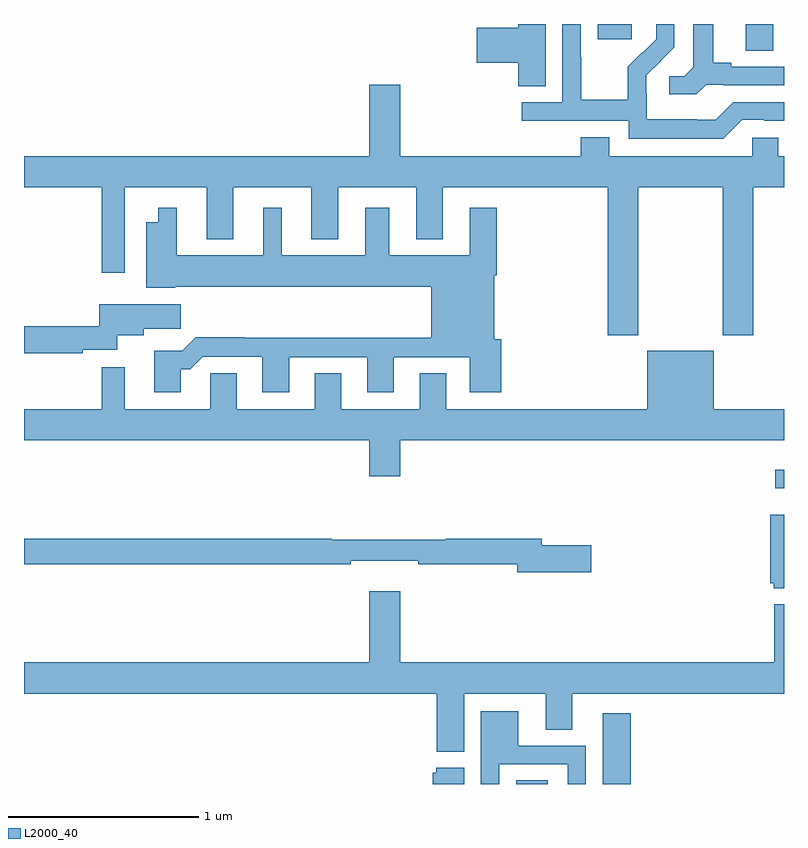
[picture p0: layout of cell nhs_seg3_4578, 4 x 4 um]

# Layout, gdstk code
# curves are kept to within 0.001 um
import gdstk
lib = gdstk.Library(unit=1e-6, precision=1e-09)
def R(c, l, rs):  # rectangles x0, y0, x1, y1
    for r in rs: c.add(gdstk.rectangle(r[:2], r[2:], *l))
def P(c, l, *ps):  # polygons
    for p in ps: c.add(gdstk.Polygon(p, *l))
L2000_40 = (2000, 40)

nhs_seg3_4578 = lib.new_cell('nhs_seg3_4578')
R(nhs_seg3_4578, L2000_40, [(357.59,740.4,357.757,740.42), (358.046,740.4,358.193,740.773), (358.953,741.956,359,742.054), (358.799,744.259,358.944,744.4), (358.019,744.321,358.198,744.4)])
P(nhs_seg3_4578, L2000_40, [(358.779,743.895),(358.895,743.895),(358.895,743.892),(359,743.892),(359,743.988),(358.734,743.988),(358.641,743.895),(358.541,743.895),(358.541,743.899),(358.278,743.899),(358.278,744.033),(358.276,744.033),(358.276,744.13),(358.422,744.278),(358.422,744.4),(358.328,744.4),(358.328,744.32),(358.257,744.249),(358.254,744.252),(358.177,744.175),(358.177,744.001),(357.933,744.001),(357.933,744.224),(357.93,744.224),(357.93,744.4),(357.834,744.4),(357.834,743.988),(357.621,743.988),(357.621,743.892),(358.182,743.892),(358.182,743.795),(358.679,743.795)],
  [(357.745,744.4),(357.602,744.4),(357.602,744.38),(357.384,744.38),(357.384,744.197),(357.602,744.197),(357.602,744.073),(357.745,744.073)],
  [(358.59,744.081),(358.684,744.081),(358.684,744.078),(359,744.078),(359,744.174),(358.723,744.174),(358.723,744.197),(358.627,744.197),(358.627,744.4),(358.523,744.4),(358.523,744.173),(358.476,744.126),(358.395,744.126),(358.395,744.029),(358.538,744.029)],
  [(358.233,743.54),(358.678,743.54),(358.678,742.761),(358.838,742.761),(358.838,743.54),(359,743.54),(359,743.704),(358.971,743.704),(358.971,743.802),(358.833,743.802),(358.833,743.704),(358.081,743.704),(358.081,743.803),(357.929,743.803),(357.929,743.704),(356.98,743.704),(356.98,744.079),(356.816,744.079),(356.816,743.704),(355,743.704),(355,743.54),(355.41,743.54),(355.41,743.091),(355.531,743.091),(355.531,743.54),(355.961,743.54),(355.961,743.267),(356.101,743.267),(356.101,743.54),(356.513,743.54),(356.513,743.267),(356.653,743.267),(356.653,743.54),(357.065,743.54),(357.065,743.267),(357.205,743.267),(357.205,743.54),(358.073,743.54),(358.073,742.761),(358.233,742.761)],
  [(355.825,742.583),(355.874,742.583),(355.941,742.65),(356.255,742.65),(356.255,742.461),(356.395,742.461),(356.395,742.647),(356.807,742.647),(356.807,742.461),(356.947,742.461),(356.947,742.647),(357.347,742.647),(357.347,742.461),(357.512,742.461),(357.512,742.74),(357.475,742.74),(357.475,743.078),(357.488,743.078),(357.488,743.434),(357.347,743.434),(357.347,743.182),(356.923,743.182),(356.923,743.434),(356.795,743.434),(356.795,743.182),(356.356,743.182),(356.356,743.434),(356.258,743.434),(356.258,743.182),(355.804,743.182),(355.804,743.434),(355.706,743.434),(355.706,743.356),(355.643,743.356),(355.643,743.012),(355.797,743.012),(355.797,743.018),(357.143,743.018),(357.143,742.748),(356.159,742.748),(356.159,742.751),(355.904,742.751),(355.834,742.681),(355.685,742.681),(355.685,742.461),(355.825,742.461)],
  [(355.308,742.685),(355.491,742.685),(355.491,742.763),(355.63,742.763),(355.63,742.795),(355.825,742.795),(355.825,742.924),(355.395,742.924),(355.395,742.808),(355,742.808),(355,742.666),(355.308,742.666)],
  [(356.98,742.208),(359,742.208),(359,742.372),(358.63,742.372),(358.63,742.681),(358.28,742.681),(358.28,742.372),(357.223,742.372),(357.223,742.562),(357.083,742.562),(357.083,742.372),(356.671,742.372),(356.671,742.562),(356.531,742.562),(356.531,742.372),(356.119,742.372),(356.119,742.562),(355.98,742.562),(355.98,742.372),(355.531,742.372),(355.531,742.594),(355.41,742.594),(355.41,742.372),(355,742.372),(355,742.208),(356.816,742.208),(356.816,742.02),(356.98,742.02)],
  [(359,741.817),(358.928,741.817),(358.928,741.456),(358.947,741.456),(358.947,741.431),(359,741.431)],
  [(357.985,741.656),(357.724,741.656),(357.724,741.692),(357.22,741.692),(357.22,741.685),(356.62,741.685),(356.62,741.692),(355,741.692),(355,741.556),(356.72,741.556),(356.72,741.575),(357.076,741.575),(357.076,741.556),(357.596,741.556),(357.596,741.514),(357.985,741.514)],
  [(357.316,740.876),(357.746,740.876),(357.746,740.686),(357.886,740.686),(357.886,740.876),(359,740.876),(359,741.346),(358.949,741.346),(358.949,741.04),(356.98,741.04),(356.98,741.415),(356.816,741.415),(356.816,741.04),(355,741.04),(355,740.876),(357.173,740.876),(357.173,740.57),(357.316,740.57)],
  [(357.501,740.505),(357.861,740.505),(357.861,740.4),(357.957,740.4),(357.957,740.601),(357.601,740.601),(357.601,740.782),(357.405,740.782),(357.405,740.4),(357.501,740.4)],
  [(357.316,740.485),(357.171,740.485),(357.171,740.46),(357.152,740.46),(357.152,740.4),(357.316,740.4)])

lib.write_gds('nhs_seg3_4578.gds')
